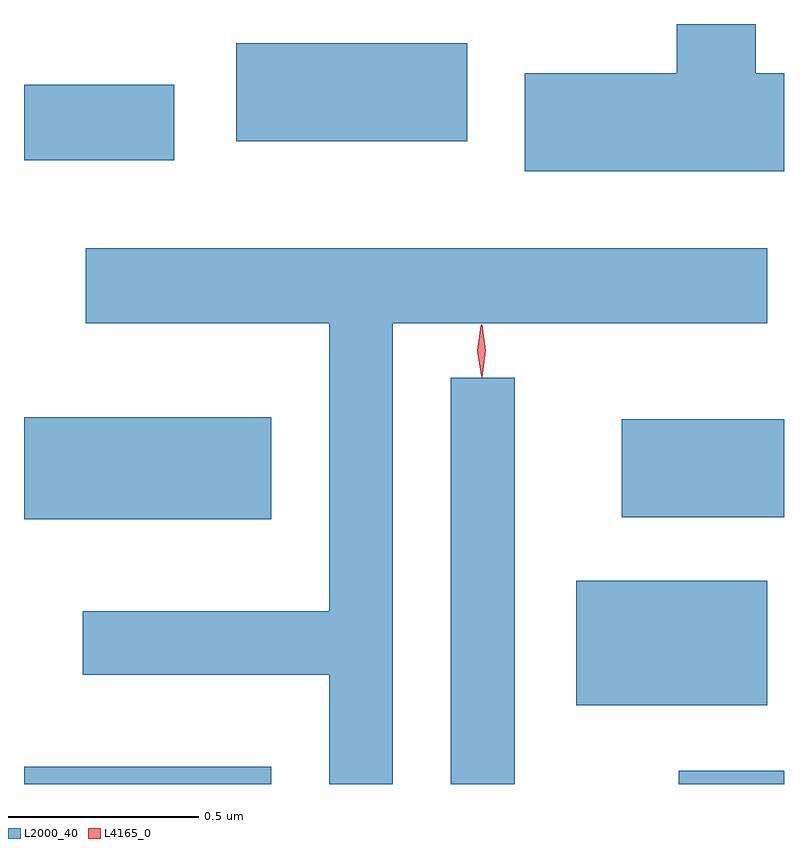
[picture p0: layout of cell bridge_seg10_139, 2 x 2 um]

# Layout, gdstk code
import gdstk
lib = gdstk.Library(unit=1e-6, precision=1e-09)
def R(c, l, rs):  # rectangles x0, y0, x1, y1
    for r in rs: c.add(gdstk.rectangle(r[:2], r[2:], *l))
def P(c, l, *ps):  # polygons
    for p in ps: c.add(gdstk.Polygon(p, *l))
L2000_40 = (2000, 40)
L4165_0 = (4165, 0)

bridge_seg10_139 = lib.new_cell('bridge_seg10_139')
R(bridge_seg10_139, L2000_40, [(1633.638,2141.104,1634.289,2141.149), (1634.761,2141.104,1634.929,2142.173), (1635.361,2141.104,1635.638,2141.139), (1635.091,2141.311,1635.594,2141.639), (1633.638,2141.801,1634.289,2142.069), (1635.211,2141.806,1635.638,2142.064), (1633.638,2142.746,1634.034,2142.944), (1634.196,2142.796,1634.804,2143.054)])
P(bridge_seg10_139, L2000_40, [(1635.638,2142.974),(1635.564,2142.974),(1635.564,2143.104),(1635.356,2143.104),(1635.356,2142.974),(1634.956,2142.974),(1634.956,2142.716),(1635.638,2142.716)],
  [(1634.609,2142.316),(1635.594,2142.316),(1635.594,2142.514),(1633.801,2142.514),(1633.801,2142.316),(1634.441,2142.316),(1634.441,2141.559),(1633.793,2141.559),(1633.793,2141.391),(1634.441,2141.391),(1634.441,2141.104),(1634.609,2141.104)])
P(bridge_seg10_139, L4165_0, [(1634.843,2142.174),(1634.843,2142.175),(1634.833,2142.244),(1634.843,2142.313),(1634.843,2142.314),(1634.844,2142.313),(1634.853,2142.244),(1634.844,2142.175)],
  [(1634.841,2142.178),(1634.841,2142.178),(1634.831,2142.244),(1634.84,2142.31),(1634.841,2142.311),(1634.841,2142.31),(1634.851,2142.244),(1634.842,2142.178)])

lib.write_gds('bridge_seg10_139.gds')
